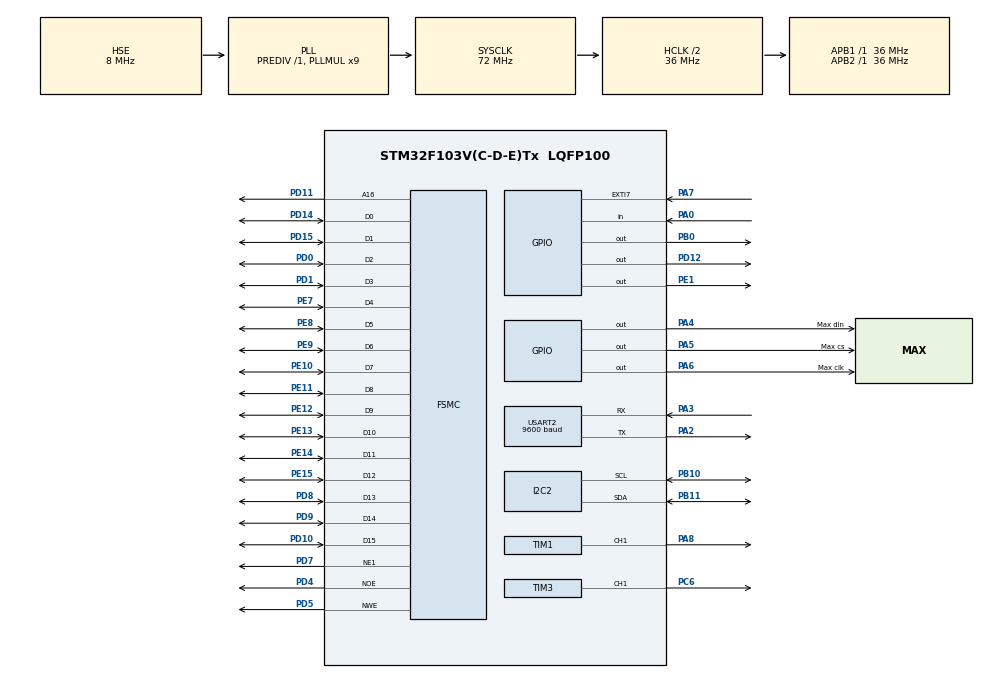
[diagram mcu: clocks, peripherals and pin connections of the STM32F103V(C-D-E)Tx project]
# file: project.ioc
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Mcu.Family=STM32F1
Mcu.Name=STM32F103V(C-D-E)Tx
Mcu.Package=LQFP100
NVIC.EXTI9_5_IRQn=true\:0\:0\:false\:false\:true\:true\:true\:true
NVIC.PriorityGroup=NVIC_PRIORITYGROUP_4
NVIC.USART2_IRQn=true\:0\:0\:false\:false\:true\:true\:true\:true
OSC_IN.Mode=HSE-External-Oscillator
OSC_IN.Signal=RCC_OSC_IN
OSC_OUT.Mode=HSE-External-Oscillator
OSC_OUT.Signal=RCC_OSC_OUT
PA0-WKUP.GPIO_Mode=GPIO_MODE_INPUT
PA0-WKUP.Signal=GPIO_Input
PA13.Mode=Serial_Wire
PA13.Signal=SYS_JTMS-SWDIO
PA14.Mode=Serial_Wire
PA14.Signal=SYS_JTCK-SWCLK
PA2.Mode=Asynchronous
PA2.Signal=USART2_TX
PA3.Mode=Asynchronous
PA3.Signal=USART2_RX
PA4.GPIO_Label=Max din
PA4.Signal=GPIO_Output
PA5.GPIO_Label=Max cs
PA5.Signal=GPIO_Output
PA6.GPIO_Label=Max clk
PA6.Signal=GPIO_Output
PA7.GPIO_ModeDefaultEXTI=GPIO_MODE_IT_FALLING
PA7.GPIO_PuPd=GPIO_PULLUP
PA7.Signal=GPXTI7
PA8.Signal=S_TIM1_CH1
PB0.GPIO_Speed=GPIO_SPEED_FREQ_HIGH
PB0.PinState=GPIO_PIN_SET
PB0.Signal=GPIO_Output
PB10.Mode=I2C
PB10.Signal=I2C2_SCL
PB11.Mode=I2C
PB11.Signal=I2C2_SDA
PC14-OSC32_IN.Mode=LSE-External-Oscillator
PC14-OSC32_IN.Signal=RCC_OSC32_IN
PC15-OSC32_OUT.Mode=LSE-External-Oscillator
PC15-OSC32_OUT.Signal=RCC_OSC32_OUT
PC6.Signal=S_TIM3_CH1
PD0.Mode=16b-d1
PD0.Signal=FSMC_D2
PD1.Mode=16b-d1
PD1.Signal=FSMC_D3
PD10.Mode=16b-d1
PD10.Signal=FSMC_D15
PD11.Mode=A16_1
PD11.Signal=FSMC_A16
PD12.GPIO_Speed=GPIO_SPEED_FREQ_HIGH
PD12.Signal=GPIO_Output
PD14.Mode=16b-d1
PD14.Signal=FSMC_D0
PD15.Mode=16b-d1
PD15.Signal=FSMC_D1
PD4.Mode=Lcd1
PD4.Signal=FSMC_NOE
PD5.Mode=Lcd1
PD5.Signal=FSMC_NWE
PD7.Mode=NorPsramChipSelect1_1
PD7.Signal=FSMC_NE1
PD8.Mode=16b-d1
PD8.Signal=FSMC_D13
PD9.Mode=16b-d1
PD9.Signal=FSMC_D14
PE1.GPIO_Speed=GPIO_SPEED_FREQ_HIGH
PE1.Signal=GPIO_Output
PE10.Mode=16b-d1
PE10.Signal=FSMC_D7
PE11.Mode=16b-d1
PE11.Signal=FSMC_D8
PE12.Mode=16b-d1
PE12.Signal=FSMC_D9
PE13.Mode=16b-d1
PE13.Signal=FSMC_D10
PE14.Mode=16b-d1
PE14.Signal=FSMC_D11
PE15.Mode=16b-d1
PE15.Signal=FSMC_D12
PE7.Mode=16b-d1
PE7.Signal=FSMC_D4
PE8.Mode=16b-d1
PE8.Signal=FSMC_D5
PE9.Mode=16b-d1
PE9.Signal=FSMC_D6
ProjectManager.HeapSize=0x200
ProjectManager.StackSize=0x400
ProjectManager.TargetToolchain=STM32CubeIDE
RCC.AHBCLKDivider=RCC_SYSCLK_DIV2
RCC.AHBFreq_Value=36000000
RCC.APB1Freq_Value=36000000
RCC.APB1TimFreq_Value=36000000
RCC.APB2Freq_Value=36000000
RCC.APB2TimFreq_Value=36000000
RCC.HCLKFreq_Value=36000000
RCC.PLLMUL=RCC_PLL_MUL9
RCC.PLLSourceVirtual=RCC_PLLSOURCE_HSE
RCC.SYSCLKFreq_VALUE=72000000
RCC.SYSCLKSource=RCC_SYSCLKSOURCE_PLLCLK
RCC.USBFreq_Value=72000000
SH.S_TIM1_CH1.0=TIM1_CH1,PWM Generation1 CH1
SH.S_TIM3_CH1.0=TIM3_CH1,PWM Generation1 CH1
TIM1.Channel-PWM\ Generation1\ CH1=TIM_CHANNEL_1
TIM1.Period=449
TIM1.Pulse-PWM\ Generation1\ CH1=250
TIM3.Channel-PWM\ Generation1\ CH1=TIM_CHANNEL_1
TIM3.Period=199
USART2.BaudRate=9600
USART2.VirtualMode=VM_ASYNC
VP_TIM1_VS_ClockSourceINT.Mode=Internal
VP_TIM3_VS_ClockSourceITR.Mode=TriggerSource_ITR0
VP_TIM3_VS_ControllerModeClock.Mode=Clock Mode
board=custom

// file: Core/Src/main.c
/* USER CODE BEGIN Header */
/**
  ******************************************************************************
  * @file           : main.c
  * @brief          : Main program body
  ******************************************************************************
  * @attention
  *
  * Copyright (c) 2023 STMicroelectronics.
  * All rights reserved.
  *
  * This software is licensed under terms that can be found in the LICENSE file
  * in the root directory of this software component.
  * If no LICENSE file comes with this software, it is provided AS-IS.
  *
  ******************************************************************************
  */
/* USER CODE END Header */
#include "main.h"

/* USER CODE BEGIN Includes */
#include "lcd.h"
#include "stdio.h"
#include "string.h"
/* USER CODE END Includes */

I2C_HandleTypeDef hi2c2;

TIM_HandleTypeDef htim1;
TIM_HandleTypeDef htim3;

UART_HandleTypeDef huart2;

SRAM_HandleTypeDef hsram1;

void SystemClock_Config(void);
static void MX_GPIO_Init(void);
static void MX_FSMC_Init(void);
static void MX_USART2_UART_Init(void);
static void MX_I2C2_Init(void);
static void MX_TIM1_Init(void);
static void MX_TIM3_Init(void);

/* USER CODE BEGIN 0 */
uint8_t x_gyr_MSB,y_gyr_MSB, z_gyr_MSB, x_gyr_LSB, y_gyr_LSB, z_gyr_LSB;
uint8_t x_acc_MSB,y_acc_MSB, z_acc_MSB, x_acc_LSB, y_acc_LSB, z_acc_LSB;
int16_t gyr_x,gyr_y,gyr_z;
int16_t acc_x,acc_y,acc_z;
uint8_t Acc = 0x11;
uint8_t Gyr = 0x15;
char gyr_x_display[6];
char gyr_y_display[6];
char gyr_z_display[6];
char acc_x_display[6];
char acc_y_display[6];
char acc_z_display[6];
char speed_display[6];
char distance_display[6];
char pwm_value[10] = "Initial";
int motor_level_counter = 0;	   // User can set the initial level (plz check the size )
int derailuer_init_direction = 0;  // 0 for ascending level init, 1 for descending init

uint8_t rxData = 1;
volatile uint32_t last_interrupt_time = 0;
volatile uint32_t time_between_interrupts = 0;
volatile uint32_t rpm = 0;
volatile uint32_t rotation_count = 0;
float distance_traveled = 0;
const float wheel_radius = 0.3;
float previous_distance = 0;
char message[50] = "Speed: 0 km/h     Distance: 0 m\r\n";
int msgCounter = 0;

void HAL_UART_RxCpltCallback(UART_HandleTypeDef *huart)
{
  // Check if the received data is '0' or '1'
  if(rxData == '1')
  {
    HAL_GPIO_WritePin(GPIOB, GPIO_PIN_0, GPIO_PIN_RESET); // Turn B0 on
  }
  else if(rxData == '0')
  {
    HAL_GPIO_WritePin(GPIOB, GPIO_PIN_0, GPIO_PIN_SET); // Turn B0 off
  }

  // Start the next receive operation
  HAL_UART_Receive_IT(&huart2, &rxData, 1);
}

void HAL_GPIO_EXTI_Callback(uint16_t GPIO_Pin)
{
  if (GPIO_Pin == GPIO_PIN_7)
  {
	// Get the current time and calculate the time between this interrupt and the last one
    uint32_t current_time = HAL_GetTick();
    time_between_interrupts = current_time - last_interrupt_time;

    // Update the last_interrupt_time to the current time for the next interrupt
    last_interrupt_time = current_time;

    // Calculate the RPM based on the time between interrupts
    rpm = 60000 / time_between_interrupts; // RPM = 60,000 / time_between_interrupts

    // Increment the rotation count
    rotation_count++;
  }
}

void check_bike_stopped()
{
  static uint32_t last_rotation_count = 0;
  static uint32_t last_check_time = 0;

  uint32_t current_time = HAL_GetTick();

  if (current_time - last_check_time > 2000) // Check every 3 seconds
  {
    if (rotation_count == last_rotation_count) // If rotation count has not changed, bike has stopped
    {
      rpm = 0;
      sprintf(message, "Speed: 0 km/h     Distance: %d m\r\n", (int)distance_traveled);
    }

    last_rotation_count = rotation_count;
    last_check_time = current_time;
  }
}
/* USER CODE END 0 */

int main(void)
{

  /* MCU Configuration--------------------------------------------------------*/

  /* Reset of all peripherals, Initializes the Flash interface and the Systick. */
  HAL_Init();

  /* Configure the system clock */
  SystemClock_Config();

  /* Initialize all configured peripherals */
  MX_GPIO_Init();
  MX_FSMC_Init();
  MX_USART2_UART_Init();
  MX_I2C2_Init();
  MX_TIM1_Init();
  MX_TIM3_Init();
  /* USER CODE BEGIN 2 */
  HAL_TIM_PWM_Start(&htim1,TIM_CHANNEL_1);
  HAL_TIM_PWM_Start(&htim3,TIM_CHANNEL_1);
  LCD_INIT();
  max_init(8);  //Initialize max7219 led control module, 15 as brightness

  /*
  //For BMI160 gyroscope Dev address= 0x68 (connected to GND)
  struct bmi160_dev bmi160;
  struct bmi160_sensor_data accel;
  struct bmi160_sensor_data gyro;
  */

  //bmi160_soft_reset(&bmi160);
  //bmi160_init(&bmi160);

  HAL_UART_Receive_IT(&huart2,&rxData,1);
  HAL_GPIO_WritePin(GPIOB, GPIO_PIN_0, GPIO_PIN_RESET);
  /* USER CODE END 2 */

  /* Infinite loop */
  while (1)
  {

    /* USER CODE BEGIN 3 */

	  //Display of gyroscope x y z
	  LCD_DrawString(20, 30, "Gyr_x:");
	  LCD_DrawString(20, 60, "Gyr_y:");
	  LCD_DrawString(20, 90, "Gyr_z:");
	  LCD_DrawString(20, 120, "Acc_x:");
	  LCD_DrawString(20, 150, "Acc_y:");
	  LCD_DrawString(20, 180, "Acc_z:");
	  LCD_DrawString(20, 180, "Acc_z:");
	  LCD_DrawString(20, 210, "Ride lv:");
	  //LCD_DrawString(20, 240, "Turn:");
	  LCD_DrawString(20, 240, "Motor:");

	  //gyroscope
	  HAL_I2C_Mem_Write(&hi2c2, 0x69<<1, 0x7e, 1, &Gyr, 1 ,100);      //activate gyroscope
	  HAL_Delay(100);

	  //For debug purpose (Check work mode of bmi160)
	  uint8_t work_mode = 0;
	  HAL_I2C_Mem_Read(&hi2c2, 0x69<<1, 0X03, 1, &work_mode, 1 ,100);

	  uint8_t gyr_value_setting = 0;
	  HAL_I2C_Mem_Read(&hi2c2, 0x69<<1, 0x43, 1, &gyr_value_setting, 1 ,100); //Read  gyr_value_setting

	  HAL_I2C_Mem_Read(&hi2c2, 0x69<<1, 0X0c, 1, &x_gyr_LSB, 1 ,100); //Read gyro x
	  HAL_I2C_Mem_Read(&hi2c2, 0x69<<1, 0X0d, 1, &x_gyr_MSB, 1 ,100);
	  HAL_I2C_Mem_Read(&hi2c2, 0x69<<1, 0X0e, 1, &y_gyr_LSB, 1 ,100); //Read gyro y
	  HAL_I2C_Mem_Read(&hi2c2, 0x69<<1, 0X0f, 1, &y_gyr_MSB, 1 ,100);
	  HAL_I2C_Mem_Read(&hi2c2, 0x69<<1, 0X10, 1, &z_gyr_LSB, 1 ,100); //Read gyro z
	  HAL_I2C_Mem_Read(&hi2c2, 0x69<<1, 0X11, 1, &z_gyr_MSB, 1 ,100);

	  uint16_t whole_gyr_x = ((x_gyr_MSB | 0x0000) << 8) | (x_gyr_LSB & 0xffff);
	  uint16_t whole_gyr_y = ((y_gyr_MSB | 0x0000) << 8) | (y_gyr_LSB & 0xffff);
	  uint16_t whole_gyr_z = ((z_gyr_MSB | 0x0000) << 8) | (z_gyr_LSB & 0xffff);

	  gyr_x = (signed short)whole_gyr_x*3.14/180.0;
      gyr_y = (signed short)whole_gyr_y*3.14/180.0;
      gyr_z = (signed short)whole_gyr_z*3.14/180.0;

	  //Accelermeter
	  HAL_I2C_Mem_Write(&hi2c2, 0x69<<1, 0x7e, 1, &Acc, 1 ,100); //activate accelermeter
	  HAL_Delay(100);

	  /*
	   * HAL_I2C_Mem_Read(&hi2c2, 0x69<<1, 0X03, 1, &work_mode, 1 ,100);
	  uint8_t acc_value_setting = 0;
	  HAL_I2C_Mem_Read(&hi2c2, 0x69<<1, 0x43, 1, &acc_value_setting, 1 ,100); //Read  acc_value_setting
	  */
	  HAL_I2C_Mem_Read(&hi2c2, 0x69<<1, 0X12, 1, &x_acc_LSB, 1 ,100); //Read acc x
	  HAL_I2C_Mem_Read(&hi2c2, 0x69<<1, 0X13, 1, &x_acc_MSB, 1 ,100);
	  HAL_I2C_Mem_Read(&hi2c2, 0x69<<1, 0X14, 1, &y_acc_LSB, 1 ,100); //Read acc y
	  HAL_I2C_Mem_Read(&hi2c2, 0x69<<1, 0X15, 1, &y_acc_MSB, 1 ,100);
	  HAL_I2C_Mem_Read(&hi2c2, 0x69<<1, 0X16, 1, &z_acc_LSB, 1 ,100); //Read acc z
	  HAL_I2C_Mem_Read(&hi2c2, 0x69<<1, 0X17, 1, &z_acc_MSB, 1 ,100);

	  uint16_t whole_acc_x = ((x_acc_MSB | 0x0000) << 8) | (x_acc_LSB & 0xffff);
	  uint16_t whole_acc_y = ((y_acc_MSB | 0x0000) << 8) | (y_acc_LSB & 0xffff);
	  uint16_t whole_acc_z = ((z_acc_MSB | 0x0000) << 8) | (z_acc_LSB & 0xffff);

	  //Accelermeter data precision (-10 to +10)
	  acc_x = (signed short)whole_acc_x/1638.40;
	  acc_y = (signed short)whole_acc_y/1638.40;
	  acc_z = (signed short)whole_acc_z/1638.40;

	  sprintf(gyr_x_display, "%d", gyr_x);	//Convert all
	  sprintf(gyr_y_display, "%d", gyr_y);
	  sprintf(gyr_z_display, "%d", gyr_z);
	  sprintf(acc_x_display, "%d", acc_x);
	  sprintf(acc_y_display, "%d", acc_y);
	  sprintf(acc_z_display, "%d", acc_z);
	  LCD_Clear(90,30, 50,  16, 0xffff);
	  LCD_Clear(90,60, 50,  16, 0xffff);
	  LCD_Clear(90,90, 50,  16, 0xffff);
	  LCD_Clear(90,120, 50, 16, 0xffff);
	  LCD_Clear(90,150, 50, 16, 0xffff);
	  LCD_Clear(90,180, 50, 16, 0xffff);
	  LCD_DrawString(90, 30,  gyr_x_display);
	  LCD_DrawString(90, 60,  gyr_y_display);
	  LCD_DrawString(90, 90,  gyr_z_display);
	  LCD_DrawString(90, 120, acc_x_display);
	  LCD_DrawString(90, 150, acc_y_display);
	  LCD_DrawString(90, 180, acc_z_display);

	  //Determine turn left (-), right(+), none
	  char turn_direction[10];
	  int threshold_acc_z = 20; // Only trigger when greater than threshold value
	  if (gyr_z > threshold_acc_z){
		  strcpy( turn_direction, "Right");
		  //write_char(26,1);
		  scroll_char(26,500,'R');
		  max_clear();

	  }else if(gyr_z < -threshold_acc_z && gyr_z != 0){
		  strcpy( turn_direction, "Left");
		  //write_char(27,1);
		  scroll_char (27,500,'L');
		  max_clear();

	  }else{
		  strcpy( turn_direction, "None");
		  max_clear();

	  }

	  //Determine riding situation to switch derailleur [Based on acc's z-axis and x-axis]
	  //Installation of the bmi160 doesn't affect this part, just need to confirm x is pointing front of the bicycle

	  char incline_lv[10];
	  //  Non-Horizontal level
	  if (abs(acc_z) < 10 && acc_x != 0 ){

		  // +ve inclination level (down hill)
		  if (acc_x > 0){
			  switch(acc_x){
				  case 1:
					  strcpy( incline_lv, "DH 1");
					  break;
				  case 2:
					  strcpy( incline_lv, "DH 2");
					  break;
				  case 3:
					  strcpy( incline_lv, "DH 3");
					  break;
				  case 4:
					  strcpy( incline_lv, "DH 4");
					  break;
				  case 5:
					  strcpy( incline_lv, "DH 5");
					  break;
				  case 6:
					  strcpy( incline_lv, "DH 6");
					  break;
				  case 7:
					  strcpy( incline_lv, "DH 7");
					  break;
			  }
		  }
		  // -ve inclination  (up hill)
		  else{
			  switch(abs(acc_x)){
				  case 1:
					  strcpy( incline_lv, "UH 1");
					  break;
				  case 2:
					  strcpy( incline_lv, "UH 2");
					  break;
				  case 3:
					  strcpy( incline_lv, "UH 3");
					  break;
				  case 4:
					  strcpy( incline_lv, "UH 4");
					  break;
				  case 5:
					  strcpy( incline_lv, "UH 5");
					  break;
				  case 6:
					  strcpy( incline_lv, "UH 6");
					  break;
				  case 7:
					  strcpy( incline_lv, "UH 7");
					  break;
			  }
		  }
	  }
	  //  Horizontal level
	  else{

		  //Check derailleur, if is not in horizontal level, change it to horizontal level suitable level slowly
		  /*
		  if (){

		  }
		  */
		  strcpy( incline_lv, "Horizontal");

	  }
	  LCD_Clear(90,210, 100, 16, 0xffff);
	  LCD_DrawString(90, 210, incline_lv);

	  //LCD_DrawString(90, 240, turn_direction);

	  //Motor control testing
	  GPIO_PinState PA_0;
	  PA_0 = HAL_GPIO_ReadPin(GPIOA, GPIO_PIN_0);
	  int pwm_value_list[] = {195,190,185,180,175,170,165,160,155,150,145,140,135,130,125,120,115,110,105,100,95,90,85,80,75,70};
	  int num_level =  sizeof(pwm_value_list)/sizeof(pwm_value_list[0]);
	  if (  PA_0 == GPIO_PIN_SET){

		  //check counter
		  if (motor_level_counter < num_level && motor_level_counter >= 0){

			  	char int_str[20];
			  	__HAL_TIM_SET_COMPARE(&htim3,TIM_CHANNEL_1,pwm_value_list[motor_level_counter]);
			  	sprintf(int_str, "%d", pwm_value_list[motor_level_counter]);
			  	strcpy(pwm_value, int_str);
			  	HAL_Delay(100);

			  //Update level counter [For level change]
			  if (derailuer_init_direction == 0){
				motor_level_counter++;
			  }else{
				motor_level_counter--;
			  }
		  }
		  //If reach maximum level reset the direction [Counter reset and reverse direction]
		  else{
			  if (derailuer_init_direction == 0){
				  derailuer_init_direction = 1;
				  motor_level_counter = num_level-2;  //set the motor level to max level - 1
			  }else{
				  derailuer_init_direction = 0;
				  motor_level_counter = 1;  //set the motor level to lowest level + 1
			  }
		  }
	  }
	  LCD_Clear(90,240, 100, 16, 0xffff);
	  LCD_DrawString(90, 240, pwm_value);

	  // speed and distance calculation
	  float wheel_circumference = 2 * 3.14159 * wheel_radius; // Replace 0.5 with the actual radius of your wheel
	  float speed = rpm * wheel_circumference / 60;
	  float speed_km_h = speed * 3.6;
	  distance_traveled = wheel_circumference * rotation_count;

//	  if (msgCounter>=5){
	  /* Update the message to send over UART if the distance or speed has changed */
	  if (distance_traveled > previous_distance && (int)speed_km_h!=0 ) {
		  sprintf(message, "Speed: %d km/h     Distance: %d m\r\n", (int)speed_km_h, (int)distance_traveled);
		  LCD_DrawString(20, 270, "RPM: ");
		  LCD_DrawString(20, 290, "Distance: ");
		  sprintf(speed_display, "%d", (int)speed_km_h);
		  sprintf(distance_display, "%d", (int)distance_traveled);
		  LCD_Clear(90,270, 50, 16, 0xffff);
		  LCD_Clear(90,290, 50, 16, 0xffff);
		  LCD_DrawString(90, 270, speed_display);
		  LCD_DrawString(90, 290, distance_display);
	  }

	  HAL_UART_Transmit(&huart2, (uint8_t*)message, strlen(message), 100);
	  msgCounter=0;
//	  }
	  previous_distance = distance_traveled;

	  check_bike_stopped();
//	  msgCounter += 1;
//	  HAL_delay(500);

  }
  /* USER CODE END 3 */
}

void SystemClock_Config(void)
{
  RCC_OscInitTypeDef RCC_OscInitStruct = {0};
  RCC_ClkInitTypeDef RCC_ClkInitStruct = {0};

  /** Initializes the RCC Oscillators according to the specified parameters
  * in the RCC_OscInitTypeDef structure.
  */
  RCC_OscInitStruct.OscillatorType = RCC_OSCILLATORTYPE_HSE;
  RCC_OscInitStruct.HSEState = RCC_HSE_ON;
  RCC_OscInitStruct.HSEPredivValue = RCC_HSE_PREDIV_DIV1;
  RCC_OscInitStruct.HSIState = RCC_HSI_ON;
  RCC_OscInitStruct.PLL.PLLState = RCC_PLL_ON;
  RCC_OscInitStruct.PLL.PLLSource = RCC_PLLSOURCE_HSE;
  RCC_OscInitStruct.PLL.PLLMUL = RCC_PLL_MUL9;
  if (HAL_RCC_OscConfig(&RCC_OscInitStruct) != HAL_OK)
  {
    Error_Handler();
  }

  /** Initializes the CPU, AHB and APB buses clocks
  */
  RCC_ClkInitStruct.ClockType = RCC_CLOCKTYPE_HCLK|RCC_CLOCKTYPE_SYSCLK
                              |RCC_CLOCKTYPE_PCLK1|RCC_CLOCKTYPE_PCLK2;
  RCC_ClkInitStruct.SYSCLKSource = RCC_SYSCLKSOURCE_PLLCLK;
  RCC_ClkInitStruct.AHBCLKDivider = RCC_SYSCLK_DIV2;
  RCC_ClkInitStruct.APB1CLKDivider = RCC_HCLK_DIV1;
  RCC_ClkInitStruct.APB2CLKDivider = RCC_HCLK_DIV1;

  if (HAL_RCC_ClockConfig(&RCC_ClkInitStruct, FLASH_LATENCY_2) != HAL_OK)
  {
    Error_Handler();
  }
}

static void MX_I2C2_Init(void)
{

  hi2c2.Instance = I2C2;
  hi2c2.Init.ClockSpeed = 100000;
  hi2c2.Init.DutyCycle = I2C_DUTYCYCLE_2;
  hi2c2.Init.OwnAddress1 = 0;
  hi2c2.Init.AddressingMode = I2C_ADDRESSINGMODE_7BIT;
  hi2c2.Init.DualAddressMode = I2C_DUALADDRESS_DISABLE;
  hi2c2.Init.OwnAddress2 = 0;
  hi2c2.Init.GeneralCallMode = I2C_GENERALCALL_DISABLE;
  hi2c2.Init.NoStretchMode = I2C_NOSTRETCH_DISABLE;
  if (HAL_I2C_Init(&hi2c2) != HAL_OK)
  {
    Error_Handler();
  }

}

static void MX_TIM1_Init(void)
{

  TIM_ClockConfigTypeDef sClockSourceConfig = {0};
  TIM_MasterConfigTypeDef sMasterConfig = {0};
  TIM_OC_InitTypeDef sConfigOC = {0};
  TIM_BreakDeadTimeConfigTypeDef sBreakDeadTimeConfig = {0};

  htim1.Instance = TIM1;
  htim1.Init.Prescaler = 0;
  htim1.Init.CounterMode = TIM_COUNTERMODE_UP;
  htim1.Init.Period = 449;
  htim1.Init.ClockDivision = TIM_CLOCKDIVISION_DIV1;
  htim1.Init.RepetitionCounter = 0;
  htim1.Init.AutoReloadPreload = TIM_AUTORELOAD_PRELOAD_DISABLE;
  if (HAL_TIM_Base_Init(&htim1) != HAL_OK)
  {
    Error_Handler();
  }
  sClockSourceConfig.ClockSource = TIM_CLOCKSOURCE_INTERNAL;
  if (HAL_TIM_ConfigClockSource(&htim1, &sClockSourceConfig) != HAL_OK)
  {
    Error_Handler();
  }
  if (HAL_TIM_PWM_Init(&htim1) != HAL_OK)
  {
    Error_Handler();
  }
  sMasterConfig.MasterOutputTrigger = TIM_TRGO_RESET;
  sMasterConfig.MasterSlaveMode = TIM_MASTERSLAVEMODE_DISABLE;
  if (HAL_TIMEx_MasterConfigSynchronization(&htim1, &sMasterConfig) != HAL_OK)
  {
    Error_Handler();
  }
  sConfigOC.OCMode = TIM_OCMODE_PWM1;
  sConfigOC.Pulse = 250;
  sConfigOC.OCPolarity = TIM_OCPOLARITY_HIGH;
  sConfigOC.OCNPolarity = TIM_OCNPOLARITY_HIGH;
  sConfigOC.OCFastMode = TIM_OCFAST_DISABLE;
  sConfigOC.OCIdleState = TIM_OCIDLESTATE_RESET;
  sConfigOC.OCNIdleState = TIM_OCNIDLESTATE_RESET;
  if (HAL_TIM_PWM_ConfigChannel(&htim1, &sConfigOC, TIM_CHANNEL_1) != HAL_OK)
  {
    Error_Handler();
  }
  sBreakDeadTimeConfig.OffStateRunMode = TIM_OSSR_DISABLE;
  sBreakDeadTimeConfig.OffStateIDLEMode = TIM_OSSI_DISABLE;
  sBreakDeadTimeConfig.LockLevel = TIM_LOCKLEVEL_OFF;
  sBreakDeadTimeConfig.DeadTime = 0;
  sBreakDeadTimeConfig.BreakState = TIM_BREAK_DISABLE;
  sBreakDeadTimeConfig.BreakPolarity = TIM_BREAKPOLARITY_HIGH;
  sBreakDeadTimeConfig.AutomaticOutput = TIM_AUTOMATICOUTPUT_DISABLE;
  if (HAL_TIMEx_ConfigBreakDeadTime(&htim1, &sBreakDeadTimeConfig) != HAL_OK)
  {
    Error_Handler();
  }
  HAL_TIM_MspPostInit(&htim1);

}

static void MX_TIM3_Init(void)
{

  TIM_SlaveConfigTypeDef sSlaveConfig = {0};
  TIM_MasterConfigTypeDef sMasterConfig = {0};
  TIM_OC_InitTypeDef sConfigOC = {0};

  htim3.Instance = TIM3;
  htim3.Init.Prescaler = 0;
  htim3.Init.CounterMode = TIM_COUNTERMODE_UP;
  htim3.Init.Period = 199;
  htim3.Init.ClockDivision = TIM_CLOCKDIVISION_DIV1;
  htim3.Init.AutoReloadPreload = TIM_AUTORELOAD_PRELOAD_DISABLE;
  if (HAL_TIM_Base_Init(&htim3) != HAL_OK)
  {
    Error_Handler();
  }
  if (HAL_TIM_PWM_Init(&htim3) != HAL_OK)
  {
    Error_Handler();
  }
  sSlaveConfig.SlaveMode = TIM_SLAVEMODE_EXTERNAL1;
  sSlaveConfig.InputTrigger = TIM_TS_ITR0;
  if (HAL_TIM_SlaveConfigSynchro(&htim3, &sSlaveConfig) != HAL_OK)
  {
    Error_Handler();
  }
  sMasterConfig.MasterOutputTrigger = TIM_TRGO_RESET;
  sMasterConfig.MasterSlaveMode = TIM_MASTERSLAVEMODE_DISABLE;
  if (HAL_TIMEx_MasterConfigSynchronization(&htim3, &sMasterConfig) != HAL_OK)
  {
    Error_Handler();
  }
  sConfigOC.OCMode = TIM_OCMODE_PWM1;
  sConfigOC.Pulse = 0;
  sConfigOC.OCPolarity = TIM_OCPOLARITY_HIGH;
  sConfigOC.OCFastMode = TIM_OCFAST_DISABLE;
  if (HAL_TIM_PWM_ConfigChannel(&htim3, &sConfigOC, TIM_CHANNEL_1) != HAL_OK)
  {
    Error_Handler();
  }
  HAL_TIM_MspPostInit(&htim3);

}

static void MX_USART2_UART_Init(void)
{

  huart2.Instance = USART2;
  huart2.Init.BaudRate = 9600;
  huart2.Init.WordLength = UART_WORDLENGTH_8B;
  huart2.Init.StopBits = UART_STOPBITS_1;
  huart2.Init.Parity = UART_PARITY_NONE;
  huart2.Init.Mode = UART_MODE_TX_RX;
  huart2.Init.HwFlowCtl = UART_HWCONTROL_NONE;
  huart2.Init.OverSampling = UART_OVERSAMPLING_16;
  if (HAL_UART_Init(&huart2) != HAL_OK)
  {
    Error_Handler();
  }

}

static void MX_GPIO_Init(void)
{
  GPIO_InitTypeDef GPIO_InitStruct = {0};

  /* GPIO Ports Clock Enable */
  __HAL_RCC_GPIOC_CLK_ENABLE();
  __HAL_RCC_GPIOA_CLK_ENABLE();
  __HAL_RCC_GPIOB_CLK_ENABLE();
  __HAL_RCC_GPIOE_CLK_ENABLE();
  __HAL_RCC_GPIOD_CLK_ENABLE();

  /*Configure GPIO pin Output Level */
  HAL_GPIO_WritePin(GPIOA, Max_din_Pin|Max_cs_Pin|Max_clk_Pin, GPIO_PIN_RESET);

  /*Configure GPIO pin Output Level */
  HAL_GPIO_WritePin(GPIOB, GPIO_PIN_0, GPIO_PIN_SET);

  /*Configure GPIO pin Output Level */
  HAL_GPIO_WritePin(GPIOD, GPIO_PIN_12, GPIO_PIN_RESET);

  /*Configure GPIO pin Output Level */
  HAL_GPIO_WritePin(GPIOE, GPIO_PIN_1, GPIO_PIN_RESET);

  /*Configure GPIO pin : PA0 */
  GPIO_InitStruct.Pin = GPIO_PIN_0;
  GPIO_InitStruct.Mode = GPIO_MODE_INPUT;
  GPIO_InitStruct.Pull = GPIO_NOPULL;
  HAL_GPIO_Init(GPIOA, &GPIO_InitStruct);

  /*Configure GPIO pins : Max_din_Pin Max_cs_Pin Max_clk_Pin */
  GPIO_InitStruct.Pin = Max_din_Pin|Max_cs_Pin|Max_clk_Pin;
  GPIO_InitStruct.Mode = GPIO_MODE_OUTPUT_PP;
  GPIO_InitStruct.Pull = GPIO_NOPULL;
  GPIO_InitStruct.Speed = GPIO_SPEED_FREQ_LOW;
  HAL_GPIO_Init(GPIOA, &GPIO_InitStruct);

  /*Configure GPIO pin : PA7 */
  GPIO_InitStruct.Pin = GPIO_PIN_7;
  GPIO_InitStruct.Mode = GPIO_MODE_IT_FALLING;
  GPIO_InitStruct.Pull = GPIO_PULLUP;
  HAL_GPIO_Init(GPIOA, &GPIO_InitStruct);

  /*Configure GPIO pin : PB0 */
  GPIO_InitStruct.Pin = GPIO_PIN_0;
  GPIO_InitStruct.Mode = GPIO_MODE_OUTPUT_PP;
  GPIO_InitStruct.Pull = GPIO_NOPULL;
  GPIO_InitStruct.Speed = GPIO_SPEED_FREQ_HIGH;
  HAL_GPIO_Init(GPIOB, &GPIO_InitStruct);

  /*Configure GPIO pin : PD12 */
  GPIO_InitStruct.Pin = GPIO_PIN_12;
  GPIO_InitStruct.Mode = GPIO_MODE_OUTPUT_PP;
  GPIO_InitStruct.Pull = GPIO_NOPULL;
  GPIO_InitStruct.Speed = GPIO_SPEED_FREQ_HIGH;
  HAL_GPIO_Init(GPIOD, &GPIO_InitStruct);

  /*Configure GPIO pin : PE1 */
  GPIO_InitStruct.Pin = GPIO_PIN_1;
  GPIO_InitStruct.Mode = GPIO_MODE_OUTPUT_PP;
  GPIO_InitStruct.Pull = GPIO_NOPULL;
  GPIO_InitStruct.Speed = GPIO_SPEED_FREQ_HIGH;
  HAL_GPIO_Init(GPIOE, &GPIO_InitStruct);

  /* EXTI interrupt init*/
  HAL_NVIC_SetPriority(EXTI9_5_IRQn, 0, 0);
  HAL_NVIC_EnableIRQ(EXTI9_5_IRQn);

}

/* FSMC initialization function */
static void MX_FSMC_Init(void)
{

  FSMC_NORSRAM_TimingTypeDef Timing = {0};

  /** Perform the SRAM1 memory initialization sequence
  */
  hsram1.Instance = FSMC_NORSRAM_DEVICE;
  hsram1.Extended = FSMC_NORSRAM_EXTENDED_DEVICE;
  /* hsram1.Init */
  hsram1.Init.NSBank = FSMC_NORSRAM_BANK1;
  hsram1.Init.DataAddressMux = FSMC_DATA_ADDRESS_MUX_DISABLE;
  hsram1.Init.MemoryType = FSMC_MEMORY_TYPE_SRAM;
  hsram1.Init.MemoryDataWidth = FSMC_NORSRAM_MEM_BUS_WIDTH_16;
  hsram1.Init.BurstAccessMode = FSMC_BURST_ACCESS_MODE_DISABLE;
  hsram1.Init.WaitSignalPolarity = FSMC_WAIT_SIGNAL_POLARITY_LOW;
  hsram1.Init.WrapMode = FSMC_WRAP_MODE_DISABLE;
  hsram1.Init.WaitSignalActive = FSMC_WAIT_TIMING_BEFORE_WS;
  hsram1.Init.WriteOperation = FSMC_WRITE_OPERATION_ENABLE;
  hsram1.Init.WaitSignal = FSMC_WAIT_SIGNAL_DISABLE;
  hsram1.Init.ExtendedMode = FSMC_EXTENDED_MODE_DISABLE;
  hsram1.Init.AsynchronousWait = FSMC_ASYNCHRONOUS_WAIT_DISABLE;
  hsram1.Init.WriteBurst = FSMC_WRITE_BURST_DISABLE;
  /* Timing */
  Timing.AddressSetupTime = 15;
  Timing.AddressHoldTime = 15;
  Timing.DataSetupTime = 255;
  Timing.BusTurnAroundDuration = 15;
  Timing.CLKDivision = 16;
  Timing.DataLatency = 17;
  Timing.AccessMode = FSMC_ACCESS_MODE_A;
  /* ExtTiming */

  if (HAL_SRAM_Init(&hsram1, &Timing, NULL) != HAL_OK)
  {
    Error_Handler( );
  }

  /** Disconnect NADV
  */

  __HAL_AFIO_FSMCNADV_DISCONNECTED();

}

void Error_Handler(void)
{
  __disable_irq();
  while (1)
  {
  }
}
